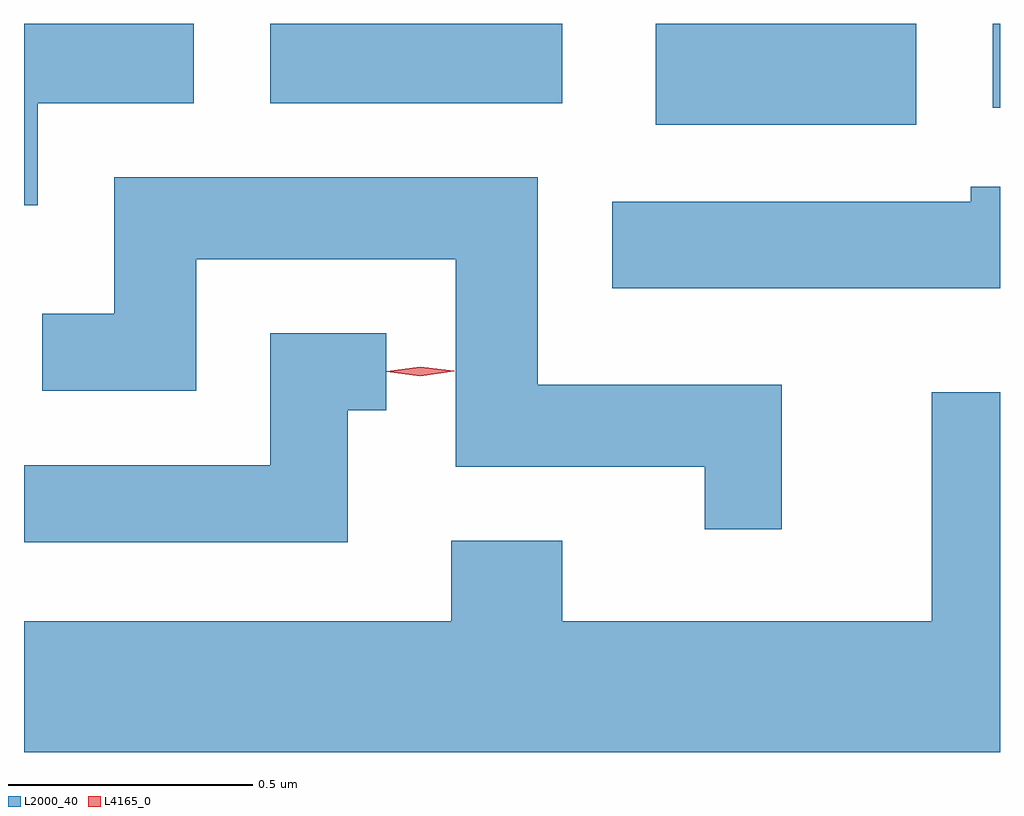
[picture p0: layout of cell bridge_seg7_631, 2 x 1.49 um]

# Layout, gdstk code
import gdstk
lib = gdstk.Library(unit=1e-6, precision=1e-09)
def R(c, l, rs):  # rectangles x0, y0, x1, y1
    for r in rs: c.add(gdstk.rectangle(r[:2], r[2:], *l))
def P(c, l, *ps):  # polygons
    for p in ps: c.add(gdstk.Polygon(p, *l))
L2000_40 = (2000, 40)
L4165_0 = (4165, 0)

bridge_seg7_631 = lib.new_cell('bridge_seg7_631')
R(bridge_seg7_631, L2000_40, [(813.281,1724.481,813.814,1724.688), (813.971,1724.516,813.986,1724.688), (812.491,1724.526,813.089,1724.688)])
P(bridge_seg7_631, L2000_40, [(812.014,1724.526),(812.334,1724.526),(812.334,1724.688),(811.986,1724.688),(811.986,1724.316),(812.014,1724.316)],
  [(813.539,1723.949),(813.039,1723.949),(813.039,1724.374),(812.171,1724.374),(812.171,1724.094),(812.023,1724.094),(812.023,1723.936),(812.339,1723.936),(812.339,1724.206),(812.871,1724.206),(812.871,1723.781),(813.381,1723.781),(813.381,1723.653),(813.539,1723.653)],
  [(813.986,1724.354),(813.926,1724.354),(813.926,1724.324),(813.191,1724.324),(813.191,1724.146),(813.986,1724.146)],
  [(812.649,1723.896),(812.728,1723.896),(812.728,1724.054),(812.491,1724.054),(812.491,1723.784),(811.986,1723.784),(811.986,1723.626),(812.649,1723.626)],
  [(813.986,1723.933),(813.846,1723.933),(813.846,1723.464),(813.089,1723.464),(813.089,1723.629),(812.861,1723.629),(812.861,1723.464),(811.986,1723.464),(811.986,1723.196),(813.986,1723.196)])
P(bridge_seg7_631, L4165_0, [(812.798,1723.966),(812.729,1723.975),(812.729,1723.976),(812.729,1723.976),(812.798,1723.986),(812.868,1723.977),(812.868,1723.976),(812.868,1723.976)])

lib.write_gds('bridge_seg7_631.gds')
